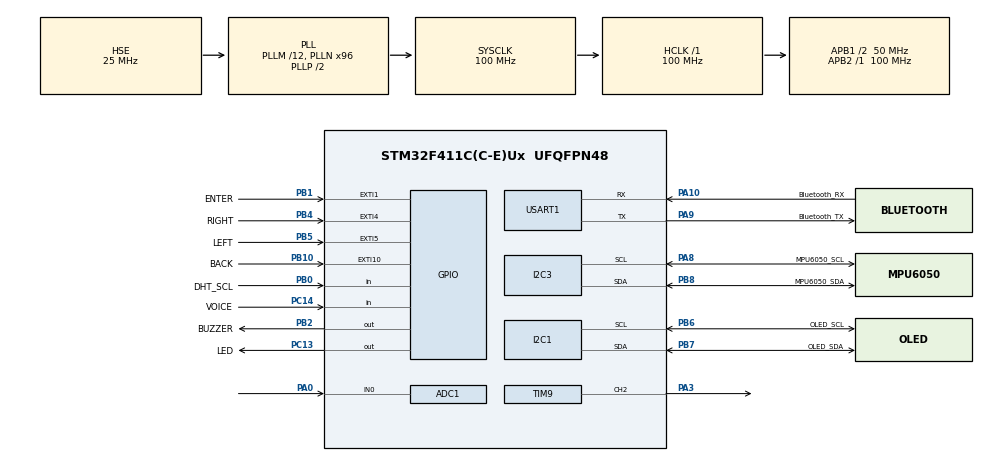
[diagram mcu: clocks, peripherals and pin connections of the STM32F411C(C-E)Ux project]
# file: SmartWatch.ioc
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ADC1.Channel-0\#ChannelRegularConversion=ADC_CHANNEL_0
ADC1.ContinuousConvMode=ENABLE
ADC1.NbrOfConversion=1
ADC1.NbrOfConversionFlag=1
ADC1.Rank-0\#ChannelRegularConversion=1
ADC1.SamplingTime-0\#ChannelRegularConversion=ADC_SAMPLETIME_3CYCLES
ADC1.master=1
Dma.ADC1.2.Direction=DMA_PERIPH_TO_MEMORY
Dma.ADC1.2.FIFOMode=DMA_FIFOMODE_DISABLE
Dma.ADC1.2.Instance=DMA2_Stream0
Dma.ADC1.2.MemDataAlignment=DMA_MDATAALIGN_HALFWORD
Dma.ADC1.2.MemInc=DMA_MINC_ENABLE
Dma.ADC1.2.Mode=DMA_NORMAL
Dma.ADC1.2.PeriphDataAlignment=DMA_PDATAALIGN_HALFWORD
Dma.ADC1.2.PeriphInc=DMA_PINC_DISABLE
Dma.ADC1.2.Priority=DMA_PRIORITY_LOW
Dma.Request0=USART1_RX
Dma.Request1=USART1_TX
Dma.Request2=ADC1
Dma.USART1_RX.0.Direction=DMA_PERIPH_TO_MEMORY
Dma.USART1_RX.0.FIFOMode=DMA_FIFOMODE_DISABLE
Dma.USART1_RX.0.Instance=DMA2_Stream2
Dma.USART1_RX.0.MemDataAlignment=DMA_MDATAALIGN_BYTE
Dma.USART1_RX.0.MemInc=DMA_MINC_ENABLE
Dma.USART1_RX.0.Mode=DMA_NORMAL
Dma.USART1_RX.0.PeriphDataAlignment=DMA_PDATAALIGN_BYTE
Dma.USART1_RX.0.PeriphInc=DMA_PINC_DISABLE
Dma.USART1_RX.0.Priority=DMA_PRIORITY_LOW
Dma.USART1_TX.1.Direction=DMA_MEMORY_TO_PERIPH
Dma.USART1_TX.1.FIFOMode=DMA_FIFOMODE_DISABLE
Dma.USART1_TX.1.Instance=DMA2_Stream7
Dma.USART1_TX.1.MemDataAlignment=DMA_MDATAALIGN_BYTE
Dma.USART1_TX.1.MemInc=DMA_MINC_ENABLE
Dma.USART1_TX.1.Mode=DMA_NORMAL
Dma.USART1_TX.1.PeriphDataAlignment=DMA_PDATAALIGN_BYTE
Dma.USART1_TX.1.PeriphInc=DMA_PINC_DISABLE
Dma.USART1_TX.1.Priority=DMA_PRIORITY_LOW
FREERTOS.Tasks01=defaultTask,24,128,StartDefaultTask,Default,NULL,Dynamic,NULL,NULL
I2C1.I2C_Mode=I2C_Fast
I2C3.I2C_Mode=I2C_Fast
Mcu.Family=STM32F4
Mcu.Name=STM32F411C(C-E)Ux
Mcu.Package=UFQFPN48
NVIC.DMA2_Stream0_IRQn=true\:5\:0\:false\:false\:true\:true\:false\:true\:true
NVIC.DMA2_Stream2_IRQn=true\:5\:0\:false\:false\:true\:true\:false\:true\:true
NVIC.DMA2_Stream7_IRQn=true\:5\:0\:false\:false\:true\:true\:false\:true\:true
NVIC.EXTI15_10_IRQn=true\:7\:0\:true\:false\:true\:true\:true\:true\:true
NVIC.EXTI1_IRQn=true\:7\:0\:true\:false\:true\:true\:true\:true\:true
NVIC.EXTI4_IRQn=true\:5\:0\:true\:false\:true\:true\:true\:true\:true
NVIC.EXTI9_5_IRQn=true\:7\:0\:true\:false\:true\:true\:true\:true\:true
NVIC.PriorityGroup=NVIC_PRIORITYGROUP_4
NVIC.TIM1_UP_TIM10_IRQn=true\:15\:0\:false\:false\:true\:false\:false\:true\:true
NVIC.TIM3_IRQn=true\:7\:0\:true\:false\:true\:true\:true\:true\:true
NVIC.TIM4_IRQn=true\:6\:0\:true\:false\:true\:true\:true\:true\:true
NVIC.TIM5_IRQn=true\:7\:0\:true\:false\:true\:true\:true\:true\:true
NVIC.TimeBase=TIM1_UP_TIM10_IRQn
NVIC.TimeBaseIP=TIM10
NVIC.USART1_IRQn=true\:5\:0\:true\:false\:true\:true\:true\:true\:true
PA0-WKUP.Signal=ADCx_IN0
PA10.GPIO_Label=Bluetooth_RX
PA10.Mode=Asynchronous
PA10.Signal=USART1_RX
PA13.Mode=Serial_Wire
PA13.Signal=SYS_JTMS-SWDIO
PA14.Mode=Serial_Wire
PA14.Signal=SYS_JTCK-SWCLK
PA3.Signal=S_TIM9_CH2
PA8.GPIO_Label=MPU6050_SCL
PA8.Mode=I2C
PA8.Signal=I2C3_SCL
PA9.GPIO_Label=Bluetooth_TX
PA9.Mode=Asynchronous
PA9.Signal=USART1_TX
PB0.GPIO_Label=DHT_SCL
PB0.Signal=GPIO_Input
PB1.GPIO_Label=ENTER
PB1.GPIO_ModeDefaultEXTI=GPIO_MODE_IT_FALLING
PB1.GPIO_PuPd=GPIO_PULLUP
PB1.Signal=GPXTI1
PB10.GPIO_Label=BACK
PB10.GPIO_ModeDefaultEXTI=GPIO_MODE_IT_FALLING
PB10.GPIO_PuPd=GPIO_PULLUP
PB10.Signal=GPXTI10
PB2.GPIO_Label=BUZZER
PB2.Signal=GPIO_Output
PB4.GPIO_Label=RIGHT
PB4.GPIO_ModeDefaultEXTI=GPIO_MODE_IT_FALLING
PB4.GPIO_PuPd=GPIO_PULLUP
PB4.Signal=GPXTI4
PB5.GPIO_Label=LEFT
PB5.GPIO_ModeDefaultEXTI=GPIO_MODE_IT_FALLING
PB5.GPIO_PuPd=GPIO_PULLUP
PB5.Signal=GPXTI5
PB6.GPIO_Label=OLED_SCL
PB6.Mode=I2C
PB6.Signal=I2C1_SCL
PB7.GPIO_Label=OLED_SDA
PB7.Mode=I2C
PB7.Signal=I2C1_SDA
PB8.GPIO_Label=MPU6050_SDA
PB8.Mode=I2C
PB8.Signal=I2C3_SDA
PC13-ANTI_TAMP.GPIO_Label=LED
PC13-ANTI_TAMP.PinState=GPIO_PIN_SET
PC13-ANTI_TAMP.Signal=GPIO_Output
PC14-OSC32_IN.GPIO_Label=VOICE
PC14-OSC32_IN.Signal=GPIO_Input
PH0\ -\ OSC_IN.Mode=HSE-External-Oscillator
PH0\ -\ OSC_IN.Signal=RCC_OSC_IN
PH1\ -\ OSC_OUT.Mode=HSE-External-Oscillator
PH1\ -\ OSC_OUT.Signal=RCC_OSC_OUT
ProjectManager.HeapSize=0x800
ProjectManager.StackSize=0x400
ProjectManager.TargetToolchain=MDK-ARM V5.32
RCC.48MHZClocksFreq_Value=50000000
RCC.AHBFreq_Value=100000000
RCC.APB1CLKDivider=RCC_HCLK_DIV2
RCC.APB1Freq_Value=50000000
RCC.APB1TimFreq_Value=100000000
RCC.APB2Freq_Value=100000000
RCC.APB2TimFreq_Value=100000000
RCC.CortexFreq_Value=100000000
RCC.HCLKFreq_Value=100000000
RCC.HSE_VALUE=25000000
RCC.HSI_VALUE=16000000
RCC.LSE_VALUE=32768
RCC.PLLM=12
RCC.PLLN=96
RCC.PLLSourceVirtual=RCC_PLLSOURCE_HSE
RCC.SYSCLKFreq_VALUE=100000000
RCC.SYSCLKSource=RCC_SYSCLKSOURCE_PLLCLK
RCC.VCOOutputFreq_Value=200000000
SH.ADCx_IN0.0=ADC1_IN0,IN0
SH.S_TIM9_CH2.0=TIM9_CH2,PWM Generation2 CH2
TIM2.AutoReloadPreload=TIM_AUTORELOAD_PRELOAD_ENABLE
TIM2.Period=100-1
TIM2.Prescaler=1000-1
TIM3.AutoReloadPreload=TIM_AUTORELOAD_PRELOAD_ENABLE
TIM3.Period=10000-1
TIM3.Prescaler=10000-1
TIM4.AutoReloadPreload=TIM_AUTORELOAD_PRELOAD_ENABLE
TIM4.Period=10000-1
TIM4.Prescaler=10000-1
TIM5.AutoReloadPreload=TIM_AUTORELOAD_PRELOAD_ENABLE
TIM5.Period=100-1
TIM5.Prescaler=10000-1
TIM9.AutoReloadPreload=TIM_AUTORELOAD_PRELOAD_ENABLE
TIM9.Channel-PWM\ Generation2\ CH2=TIM_CHANNEL_2
TIM9.Period=100-1
TIM9.Prescaler=1000-1
TIM9.Pulse-PWM\ Generation2\ CH2=0
USART1.VirtualMode=VM_ASYNC
VP_FREERTOS_VS_CMSIS_V2.Mode=CMSIS_V2
VP_SYS_VS_tim10.Mode=TIM10
VP_TIM2_VS_ClockSourceINT.Mode=Internal
VP_TIM3_VS_ClockSourceINT.Mode=Internal
VP_TIM4_VS_ClockSourceINT.Mode=Internal
VP_TIM5_VS_ClockSourceINT.Mode=Internal
board=custom

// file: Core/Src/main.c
/* USER CODE BEGIN Header */
/**
 ******************************************************************************
 * @file           : main.c
 * @brief          : Main program body
 ******************************************************************************
 * @attention
 *
 * Copyright (c) 2024 STMicroelectronics.
 * All rights reserved.
 *
 * This software is licensed under terms that can be found in the LICENSE file
 * in the root directory of this software component.
 * if no LICENSE file comes with this software, it is provided AS-IS.
 *
 ******************************************************************************
 */
/* USER CODE END Header */
#include "main.h"
#include "cmsis_os.h"
#include "adc.h"
#include "dma.h"
#include "i2c.h"
#include "tim.h"
#include "usart.h"
#include "gpio.h"

/* USER CODE BEGIN Includes */
#include "interface.h"

/* USER CODE END Includes */

/* USER CODE BEGIN PV */
bool State_Time;
uint32_t Clock_Count, Timer_Count;

extern uint8_t Receivedata[50];
/* USER CODE END PV */

void SystemClock_Config(void);
void MX_FREERTOS_Init(void);

/* USER CODE BEGIN 0 */
void HAL_GPIO_EXTI_Callback(uint16_t GPIO_Pin)
{
  if (GPIO_Pin == ENTER_Pin || BACK_Pin || LEFT_Pin || RIGHT_Pin)
  {
    __HAL_TIM_SET_COUNTER(&htim5, 0);
    HAL_TIM_Base_Start_IT(&htim5);
  }
}

void HAL_UARTEx_RxEventCallback(UART_HandleTypeDef *huart, uint16_t Size)
{
  if (huart == &huart1)
  {
    HAL_UART_Transmit_DMA(&huart1, Receivedata, Size);
    HAL_UARTEx_ReceiveToIdle_DMA(&huart1, Receivedata, sizeof(Receivedata));
    __HAL_DMA_DISABLE_IT(&hdma_usart1_rx, DMA_IT_HT);
  }
}

/* USER CODE END 0 */

int main(void)
{

  /* MCU Configuration--------------------------------------------------------*/

  /* Reset of all peripherals, Initializes the Flash interface and the Systick. */
  HAL_Init();

  /* Configure the system clock */
  SystemClock_Config();

  /* Initialize all configured peripherals */
  MX_GPIO_Init();
  MX_DMA_Init();
  MX_I2C1_Init();
  MX_TIM2_Init();
  MX_USART1_UART_Init();
  MX_TIM3_Init();
  MX_I2C3_Init();
  MX_ADC1_Init();
  MX_TIM9_Init();
  MX_TIM5_Init();
  MX_TIM4_Init();
  /* USER CODE BEGIN 2 */
  // MPU6050_DMP_init();
  // HAL_Delay(20);
  OLED_Init();
  HAL_TIM_Base_Start_IT(&htim4);
  HAL_TIM_Base_Start(&htim2);
  HAL_TIM_PWM_Start(&htim9, TIM_CHANNEL_2);
  Interface_Init();
  __HAL_TIM_SetCompare(&htim9, TIM_CHANNEL_2, 50);
  /* USER CODE END 2 */

  /* Init scheduler */
  osKernelInitialize();

  /* Call init function for freertos objects (in cmsis_os2.c) */
  MX_FREERTOS_Init();

  /* Start scheduler */
  osKernelStart();

  /* We should never get here as control is now taken by the scheduler */

  /* Infinite loop */
  while (1)
  {

  }
}

void SystemClock_Config(void)
{
  RCC_OscInitTypeDef RCC_OscInitStruct = {0};
  RCC_ClkInitTypeDef RCC_ClkInitStruct = {0};

  /** Configure the main internal regulator output voltage
  */
  __HAL_RCC_PWR_CLK_ENABLE();
  __HAL_PWR_VOLTAGESCALING_CONFIG(PWR_REGULATOR_VOLTAGE_SCALE1);

  /** Initializes the RCC Oscillators according to the specified parameters
  * in the RCC_OscInitTypeDef structure.
  */
  RCC_OscInitStruct.OscillatorType = RCC_OSCILLATORTYPE_HSE;
  RCC_OscInitStruct.HSEState = RCC_HSE_ON;
  RCC_OscInitStruct.PLL.PLLState = RCC_PLL_ON;
  RCC_OscInitStruct.PLL.PLLSource = RCC_PLLSOURCE_HSE;
  RCC_OscInitStruct.PLL.PLLM = 12;
  RCC_OscInitStruct.PLL.PLLN = 96;
  RCC_OscInitStruct.PLL.PLLP = RCC_PLLP_DIV2;
  RCC_OscInitStruct.PLL.PLLQ = 4;
  if (HAL_RCC_OscConfig(&RCC_OscInitStruct) != HAL_OK)
  {
    Error_Handler();
  }

  /** Initializes the CPU, AHB and APB buses clocks
  */
  RCC_ClkInitStruct.ClockType = RCC_CLOCKTYPE_HCLK|RCC_CLOCKTYPE_SYSCLK
                              |RCC_CLOCKTYPE_PCLK1|RCC_CLOCKTYPE_PCLK2;
  RCC_ClkInitStruct.SYSCLKSource = RCC_SYSCLKSOURCE_PLLCLK;
  RCC_ClkInitStruct.AHBCLKDivider = RCC_SYSCLK_DIV1;
  RCC_ClkInitStruct.APB1CLKDivider = RCC_HCLK_DIV2;
  RCC_ClkInitStruct.APB2CLKDivider = RCC_HCLK_DIV1;

  if (HAL_RCC_ClockConfig(&RCC_ClkInitStruct, FLASH_LATENCY_3) != HAL_OK)
  {
    Error_Handler();
  }
}

void HAL_TIM_PeriodElapsedCallback(TIM_HandleTypeDef *htim)
{
  /* USER CODE BEGIN Callback 0 */
  if (htim == &htim3)
  {
    Timer_Count++;
  }

  if (htim == &htim4)
  {
    Clock_Count++;

    State_Time = !State_Time;
  }

  if (htim == &htim5)
  {
    if (complete_interface)
    {
      if (!HAL_GPIO_ReadPin(ENTER_GPIO_Port, ENTER_Pin))
      {
        button.chose = true;
      }

      if (!HAL_GPIO_ReadPin(RIGHT_GPIO_Port, RIGHT_Pin))
      {
        button.next = true;
      }

      if (!HAL_GPIO_ReadPin(LEFT_GPIO_Port, LEFT_Pin))
      {
        button.pre = true;
      }
    }

    if (!HAL_GPIO_ReadPin(BACK_GPIO_Port, BACK_Pin))
    {
      button.quit = true;
    }

    HAL_TIM_Base_Stop_IT(&htim5);
  }

  /* USER CODE END Callback 0 */
  if (htim->Instance == TIM10) {
    HAL_IncTick();
  }
}

void Error_Handler(void)
{
  __disable_irq();
  while (1)
  {
  }
}

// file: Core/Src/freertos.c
/* USER CODE BEGIN Header */
/**
 ******************************************************************************
 * File Name          : freertos.c
 * Description        : Code for freertos applications
 ******************************************************************************
 * @attention
 *
 * Copyright (c) 2024 STMicroelectronics.
 * All rights reserved.
 *
 * This software is licensed under terms that can be found in the LICENSE file
 * in the root directory of this software component.
 * If no LICENSE file comes with this software, it is provided AS-IS.
 *
 ******************************************************************************
 */
/* USER CODE END Header */

#include "FreeRTOS.h"
#include "task.h"
#include "main.h"
#include "cmsis_os.h"

/* USER CODE BEGIN Includes */
#include "interface.h"

/* USER CODE END Includes */

/* USER CODE BEGIN Variables */
TaskHandle_t xFunction_Handle;
TaskHandle_t xButton_Handle;
TaskHandle_t xBenchmarks_Handle;

/* USER CODE END Variables */
/* Definitions for defaultTask */
osThreadId_t defaultTaskHandle;
const osThreadAttr_t defaultTask_attributes = {
  .name = "defaultTask",
  .stack_size = 128 * 4,
  .priority = (osPriority_t) osPriorityNormal,
};

void StartDefaultTask(void *argument);

void MX_FREERTOS_Init(void); /* (MISRA C 2004 rule 8.1) */

void MX_FREERTOS_Init(void) {

  /* Create the thread(s) */
  /* creation of defaultTask */
  defaultTaskHandle = osThreadNew(StartDefaultTask, NULL, &defaultTask_attributes);

  /* USER CODE BEGIN RTOS_THREADS */
  /* add threads, ... */
  xTaskCreate((TaskFunction_t)Function_Run, "Fucntion", 256, NULL, osPriorityNormal, &xFunction_Handle);
  xTaskCreate((TaskFunction_t)Benchmarks_Init, "Benchmarks", 256, NULL, osPriorityNormal, &xBenchmarks_Handle);
  xTaskCreate((TaskFunction_t)Button_Scan, "Button", 256, NULL, osPriorityNormal, &xButton_Handle);

  /* USER CODE END RTOS_THREADS */

}

void StartDefaultTask(void *argument)
{
  /* USER CODE BEGIN StartDefaultTask */
  /* Infinite loop */
  for (;;)
  {
    osDelay(100);
    HAL_GPIO_TogglePin(LED_GPIO_Port, LED_Pin);
  }
  /* USER CODE END StartDefaultTask */
}
